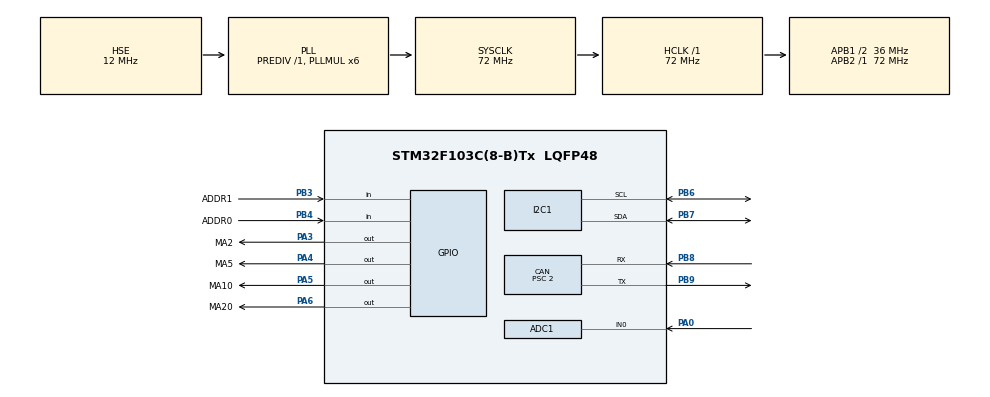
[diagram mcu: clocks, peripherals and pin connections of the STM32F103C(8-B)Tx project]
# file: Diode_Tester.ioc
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ADC1.Channel-0\#ChannelRegularConversion=ADC_CHANNEL_0
ADC1.DataAlign=ADC_DATAALIGN_RIGHT
ADC1.NbrOfConversionFlag=1
ADC1.Rank-0\#ChannelRegularConversion=1
ADC1.SamplingTime-0\#ChannelRegularConversion=ADC_SAMPLETIME_1CYCLE_5
ADC1.master=1
CAN.BS1=CAN_BS1_15TQ
CAN.BS2=CAN_BS2_2TQ
CAN.CalculateBaudRate=1000000
CAN.CalculateTimeBit=999.99
CAN.CalculateTimeQuantum=55.55555555555556
CAN.Prescaler=2
Mcu.Family=STM32F1
Mcu.Name=STM32F103C(8-B)Tx
Mcu.Package=LQFP48
NVIC.PriorityGroup=NVIC_PRIORITYGROUP_4
NVIC.USB_LP_CAN1_RX0_IRQn=true\:0\:0\:false\:false\:true\:true\:true
PA0-WKUP.Signal=ADCx_IN0
PA13.Mode=Serial_Wire
PA13.Signal=SYS_JTMS-SWDIO
PA14.Mode=Serial_Wire
PA14.Signal=SYS_JTCK-SWCLK
PA3.GPIO_Label=MA2
PA3.Signal=GPIO_Output
PA4.GPIO_Label=MA5
PA4.Signal=GPIO_Output
PA5.GPIO_Label=MA10
PA5.Signal=GPIO_Output
PA6.GPIO_Label=MA20
PA6.Signal=GPIO_Output
PB3.GPIO_Label=ADDR1
PB3.Signal=GPIO_Input
PB4.GPIO_Label=ADDR0
PB4.Signal=GPIO_Input
PB6.Mode=I2C
PB6.Signal=I2C1_SCL
PB7.Mode=I2C
PB7.Signal=I2C1_SDA
PB8.Mode=CAN_Activate
PB8.Signal=CAN_RX
PB9.Mode=CAN_Activate
PB9.Signal=CAN_TX
PD0-OSC_IN.Mode=HSE-External-Oscillator
PD0-OSC_IN.Signal=RCC_OSC_IN
PD1-OSC_OUT.Mode=HSE-External-Oscillator
PD1-OSC_OUT.Signal=RCC_OSC_OUT
ProjectManager.HeapSize=0x200
ProjectManager.StackSize=0x400
ProjectManager.TargetToolchain=Other Toolchains (GPDSC)
RCC.ADCPresc=RCC_ADCPCLK2_DIV6
RCC.AHBFreq_Value=72000000
RCC.APB1CLKDivider=RCC_HCLK_DIV2
RCC.APB1Freq_Value=36000000
RCC.APB1TimFreq_Value=72000000
RCC.APB2Freq_Value=72000000
RCC.APB2TimFreq_Value=72000000
RCC.HCLKFreq_Value=72000000
RCC.HSE_VALUE=12000000
RCC.PLLMUL=RCC_PLL_MUL6
RCC.PLLSourceVirtual=RCC_PLLSOURCE_HSE
RCC.SYSCLKFreq_VALUE=72000000
RCC.SYSCLKSource=RCC_SYSCLKSOURCE_PLLCLK
RCC.USBFreq_Value=72000000
SH.ADCx_IN0.0=ADC1_IN0,IN0
TIM1.Prescaler=72
VP_TIM1_VS_ClockSourceINT.Mode=Internal
board=custom

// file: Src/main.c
/* USER CODE BEGIN Header */
/**
  ******************************************************************************
  * @file           : main.c
  * @brief          : Main program body
  ******************************************************************************
  * @attention
  *
  * <h2><center>&copy; Copyright (c) 2023 STMicroelectronics.
  * All rights reserved.</center></h2>
  *
  * This software component is licensed by ST under BSD 3-Clause license,
  * the "License"; You may not use this file except in compliance with the
  * License. You may obtain a copy of the License at:
  *                        opensource.org/licenses/BSD-3-Clause
  *
  ******************************************************************************
  */
/* USER CODE END Header */
#include "main.h"
#include "adc.h"
#include "can.h"
#include "i2c.h"
#include "tim.h"
#include "gpio.h"

/* USER CODE BEGIN Includes */
#include "modlab.h"
/* USER CODE END Includes */

/* USER CODE BEGIN PD */

#define ADC_OFFSET 20
#define ADC_VOLT 420

/* USER CODE END PD */

/* USER CODE BEGIN PV */
uint8_t address;

uint8_t start_curr, end_curr, mode;
uint8_t start = 0;
uint16_t currents[15];

uint32_t raw;

// https://controllerstech.com/can-protocol-in-stm32/
CAN_TxHeaderTypeDef TxHeader;
CAN_RxHeaderTypeDef RxHeader;
uint8_t TxData[8];
uint32_t TxMailbox;
uint8_t RxData[8];
uint8_t stat = 0;

uint32_t average;

/* USER CODE END PV */

void SystemClock_Config(void);
/* USER CODE BEGIN PFP */
uint32_t measure_Diode (void);
void CAN_Filter(uint8_t addr);
void measure_sequence (void);
void set_output (uint8_t val);

/* USER CODE END PFP */

int main(void)
{

  /* MCU Configuration--------------------------------------------------------*/

  /* Reset of all peripherals, Initializes the Flash interface and the Systick. */
  HAL_Init();

  /* Configure the system clock */
  SystemClock_Config();

  /* Initialize all configured peripherals */
  MX_GPIO_Init();
  MX_ADC1_Init();
  MX_CAN_Init();
  MX_I2C1_Init();
  MX_TIM1_Init();
  /* USER CODE BEGIN 2 */

  //initialize us-timer
  timer_init();

  //Set outputs to 0
  HAL_GPIO_WritePin(GPIOA, MA2_Pin, 0);
  HAL_GPIO_WritePin(GPIOA, MA5_Pin, 0);
  HAL_GPIO_WritePin(GPIOA, MA10_Pin, 0);
  HAL_GPIO_WritePin(GPIOA, MA20_Pin, 0);

  //initialize address
  address = ADDR_DiodeTester | (HAL_GPIO_ReadPin(GPIOB, ADDR0_Pin)) | (HAL_GPIO_ReadPin(GPIOB, ADDR1_Pin) << 1);

  //calibrate ADC
  while(HAL_ADCEx_Calibration_Start(&hadc1) != HAL_OK);

  //initialize CAN and enable Interrupt
  HAL_CAN_Start(&hcan);
  CAN_Filter(address);
  HAL_CAN_ActivateNotification(&hcan, CAN_IT_RX_FIFO0_MSG_PENDING);
  __enable_irq();

  /* USER CODE END 2 */

  /* Infinite loop */
  /* USER CODE BEGIN WHILE */
  while (1)
  {
    if(start)
    {
      for(int i = 0; i < 15; i++)
        currents[i] = 0;
      start = 0;
      measure_sequence();
      send_cmd(ADDR_HBC & 0x0ff | ADDR_AUTO, AUTO_DONE);
    }

    /* USER CODE END WHILE */

  }
}

void SystemClock_Config(void)
{
  RCC_OscInitTypeDef RCC_OscInitStruct = {0};
  RCC_ClkInitTypeDef RCC_ClkInitStruct = {0};
  RCC_PeriphCLKInitTypeDef PeriphClkInit = {0};

  /** Initializes the RCC Oscillators according to the specified parameters
  * in the RCC_OscInitTypeDef structure.
  */
  RCC_OscInitStruct.OscillatorType = RCC_OSCILLATORTYPE_HSE;
  RCC_OscInitStruct.HSEState = RCC_HSE_ON;
  RCC_OscInitStruct.HSEPredivValue = RCC_HSE_PREDIV_DIV1;
  RCC_OscInitStruct.HSIState = RCC_HSI_ON;
  RCC_OscInitStruct.PLL.PLLState = RCC_PLL_ON;
  RCC_OscInitStruct.PLL.PLLSource = RCC_PLLSOURCE_HSE;
  RCC_OscInitStruct.PLL.PLLMUL = RCC_PLL_MUL6;
  if (HAL_RCC_OscConfig(&RCC_OscInitStruct) != HAL_OK)
  {
    Error_Handler();
  }
  /** Initializes the CPU, AHB and APB buses clocks
  */
  RCC_ClkInitStruct.ClockType = RCC_CLOCKTYPE_HCLK|RCC_CLOCKTYPE_SYSCLK
                              |RCC_CLOCKTYPE_PCLK1|RCC_CLOCKTYPE_PCLK2;
  RCC_ClkInitStruct.SYSCLKSource = RCC_SYSCLKSOURCE_PLLCLK;
  RCC_ClkInitStruct.AHBCLKDivider = RCC_SYSCLK_DIV1;
  RCC_ClkInitStruct.APB1CLKDivider = RCC_HCLK_DIV2;
  RCC_ClkInitStruct.APB2CLKDivider = RCC_HCLK_DIV1;

  if (HAL_RCC_ClockConfig(&RCC_ClkInitStruct, FLASH_LATENCY_2) != HAL_OK)
  {
    Error_Handler();
  }
  PeriphClkInit.PeriphClockSelection = RCC_PERIPHCLK_ADC;
  PeriphClkInit.AdcClockSelection = RCC_ADCPCLK2_DIV6;
  if (HAL_RCCEx_PeriphCLKConfig(&PeriphClkInit) != HAL_OK)
  {
    Error_Handler();
  }
}

/* USER CODE BEGIN 4 */

void HAL_CAN_RxFifo0MsgPendingCallback(CAN_HandleTypeDef *hcan)
{
  if (HAL_CAN_GetRxMessage(hcan, CAN_RX_FIFO0, &RxHeader, RxData) != HAL_OK)
  {
    Error_Handler();
  }

  if (RxData[0] == CMD_PING)
  {
    send_rec(address, RxData[0], stat);
  }
  else if (RxData[0] == CMD_SET8) // set 8bit
  {
    switch (RxData[1])
    {
    case START_CURR:
      start_curr = RxData[2];
      stat = 0;
      break;
    case END_CURR:
      end_curr = RxData[2];
      stat = 0;
      break;
    default: // Index Mismatch
      stat = 1;
      break;
    }
    send_rec(address, RxData[0], stat);
  }
  else if (RxData[0] == CMD_GET16) // get 16bit
  {
    if(RxData[1] >= 0x10 && RxData[1] <= 0x1E)
    {
      stat = 0;
      send_rec16(address, RxData[0], stat, currents[RxData[1] & 0x0F]);
    }
    else
    {
      stat = 1; //Index Mismatch
      send_rec(address, RxData[0], stat);
    }
  }
  else if (RxData[0] == CMD_SETMODE) // set operating mode
  {
    mode = RxData[1]-1;
    stat = 0;
    send_rec(address, RxData[0], stat);
  }
  else if (RxData[0] == CMD_ENOUT) // start conversion
  {
    start = 1;
    stat = 0;
    send_rec(address, RxData[0], stat);
  }
  else // Unknown Command
  {
    stat = 0x40;
    send_rec(address, RxData[0], stat);
  }
}

void CAN_Filter(uint8_t addr)
{
  CAN_FilterTypeDef canfilterconfig;

  canfilterconfig.FilterActivation = CAN_FILTER_ENABLE;
  canfilterconfig.FilterBank = 0; // which filter bank to use from the assigned ones
  canfilterconfig.FilterFIFOAssignment = CAN_FILTER_FIFO0;
  canfilterconfig.FilterIdHigh = addr << 5;
  canfilterconfig.FilterIdLow = 0;
  canfilterconfig.FilterMaskIdHigh = 0x1FFF;
  canfilterconfig.FilterMaskIdLow = 0xFFFF;
  canfilterconfig.FilterMode = CAN_FILTERMODE_IDMASK;
  canfilterconfig.FilterScale = CAN_FILTERSCALE_32BIT;
  canfilterconfig.SlaveStartFilterBank = 1; // how many filters to assign to the CAN1 (master can)

  HAL_CAN_ConfigFilter(&hcan, &canfilterconfig);
}

void measure_sequence (void)
{
  uint8_t i = 0;
  switch (mode)
  {
    case MODE_SINGLE:
      set_output(start_curr+1);
      currents[start_curr] = (uint16_t)measure_Diode();
      break;
    case MODE_COARSE:
      if(start_curr == 0)
        i = 0x1;
      else if(start_curr <= 2)
        i = 0x2;
      else if(start_curr <= 4)
        i = 4;
      else
        i = 8;
      while(i <= end_curr)
      {
        set_output(i);
        currents[i-1] = (uint16_t)measure_Diode();
        i = i << 1;
      }
      break;
    case MODE_MEDIUM:
      i = start_curr;
      while(i <= end_curr)
      {
        set_output(i+1);
        currents[i] = (uint16_t)measure_Diode();
        i += 2;
      }
      break;
    case MODE_FINE:
      i = start_curr;
      while(i <= end_curr)
      {
        set_output(i+1);
        currents[i] = (uint16_t)measure_Diode();
        i++;
      }
      break;
  }
  set_output(0);
}

void set_output (uint8_t val)
{
  HAL_GPIO_WritePin(GPIOA, MA2_Pin, val & 0x01);
  HAL_GPIO_WritePin(GPIOA, MA5_Pin, (val & 0x02) >> 1);
  HAL_GPIO_WritePin(GPIOA, MA10_Pin, (val & 0x04) >> 2);
  HAL_GPIO_WritePin(GPIOA, MA20_Pin, (val & 0x08) >> 3);
  HAL_Delay(100);
}

uint32_t measure_Diode (void)
{
  raw = 0;
  //measuring
  for(uint8_t i = 0; i < 10; i++)
  {
    delay_us(100);
    HAL_ADC_Start(&hadc1);                                      // start analog to digital conversion
    while(HAL_ADC_PollForConversion(&hadc1, 1000000) != HAL_OK);// wait for completing the conversion
    raw += HAL_ADC_GetValue(&hadc1);                        // read sensor's digital value
  }
  //average and return
  return ((((raw / 10)+ ADC_OFFSET)*100) / (ADC_VOLT));
}

/* USER CODE END 4 */

void Error_Handler(void)
{
  __disable_irq();
  while (1)
  {
  }
}

/************************ (C) COPYRIGHT STMicroelectronics *****END OF FILE****/
